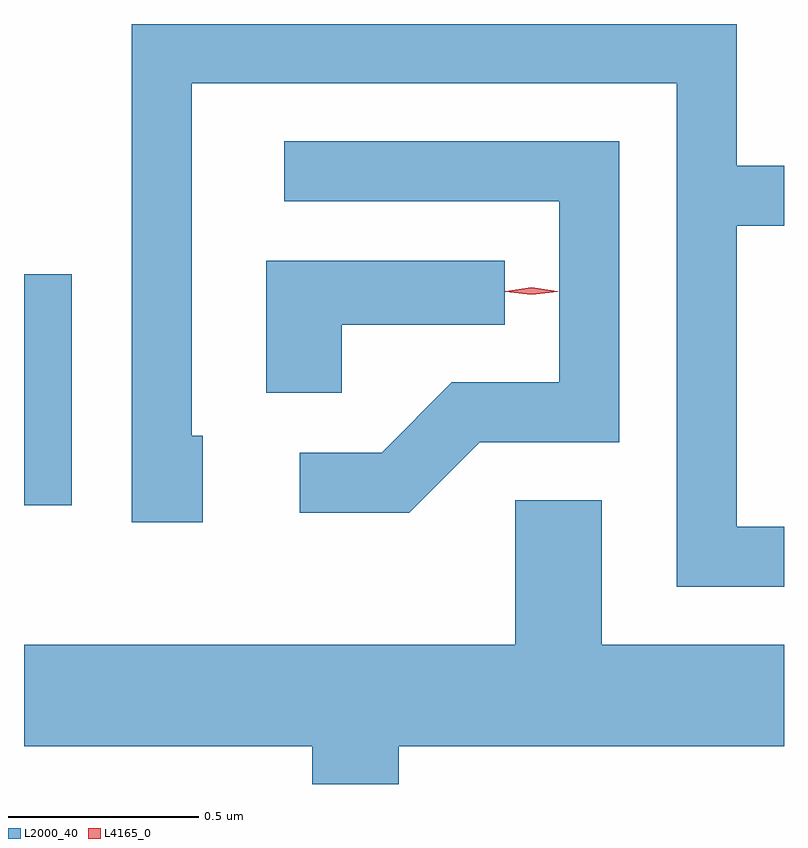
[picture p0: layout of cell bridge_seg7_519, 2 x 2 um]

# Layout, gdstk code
import gdstk
lib = gdstk.Library(unit=1e-6, precision=1e-09)
def R(c, l, rs):  # rectangles x0, y0, x1, y1
    for r in rs: c.add(gdstk.rectangle(r[:2], r[2:], *l))
def P(c, l, *ps):  # polygons
    for p in ps: c.add(gdstk.Polygon(p, *l))
L2000_40 = (2000, 40)
L4165_0 = (4165, 0)

bridge_seg7_519 = lib.new_cell('bridge_seg7_519')
R(bridge_seg7_519, L2000_40, [(1360.178,1694.971,1360.304,1695.578)])
P(bridge_seg7_519, L2000_40, [(1362.178,1694.914),(1362.054,1694.914),(1362.054,1695.706),(1362.178,1695.706),(1362.178,1695.864),(1362.054,1695.864),(1362.054,1696.237),(1360.461,1696.237),(1360.461,1694.926),(1360.649,1694.926),(1360.649,1695.154),(1360.619,1695.154),(1360.619,1696.081),(1361.896,1696.081),(1361.896,1694.756),(1362.178,1694.756)],
  [(1361.377,1695.136),(1361.744,1695.136),(1361.744,1695.929),(1360.863,1695.929),(1360.863,1695.771),(1361.586,1695.771),(1361.586,1695.294),(1361.304,1695.294),(1361.119,1695.109),(1360.903,1695.109),(1360.903,1694.951),(1361.192,1694.951)],
  [(1361.014,1695.446),(1361.443,1695.446),(1361.443,1695.614),(1360.816,1695.614),(1360.816,1695.266),(1361.014,1695.266)],
  [(1361.164,1694.336),(1362.178,1694.336),(1362.178,1694.604),(1361.699,1694.604),(1361.699,1694.984),(1361.471,1694.984),(1361.471,1694.604),(1360.178,1694.604),(1360.178,1694.336),(1360.936,1694.336),(1360.936,1694.237),(1361.164,1694.237)])
P(bridge_seg7_519, L4165_0, [(1361.514,1695.524),(1361.444,1695.533),(1361.444,1695.534),(1361.444,1695.534),(1361.514,1695.544),(1361.583,1695.534),(1361.583,1695.534),(1361.583,1695.533)])

lib.write_gds('bridge_seg7_519.gds')
